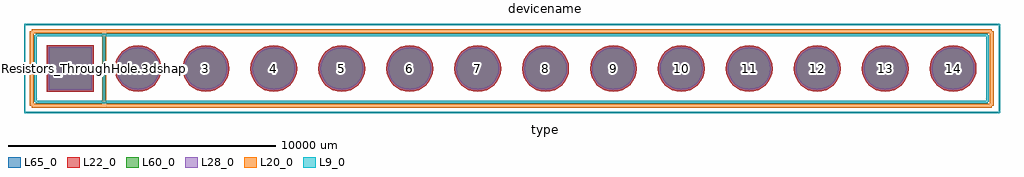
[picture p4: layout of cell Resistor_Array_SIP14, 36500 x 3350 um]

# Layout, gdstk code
import gdstk
lib = gdstk.Library(unit=1e-6, precision=1e-09)
def R(c, l, rs):  # rectangles x0, y0, x1, y1
    for r in rs: c.add(gdstk.rectangle(r[:2], r[2:], *l))
def P(c, l, *ps):  # polygons
    for p in ps: c.add(gdstk.Polygon(p, *l))
L9_0 = (9, 0)
L20_0 = (20, 0)
L22_0 = (22, 0)
L28_0 = (28, 0)
L60_0 = (60, 0)
L65_0 = (65, 0)

resistor_array_sip14 = lib.new_cell('Resistor_Array_SIP14')
R(resistor_array_sip14, L22_0, [(-875,-875,875,875)])
P(resistor_array_sip14, L22_0, [(33895,0),(33878.187,170.704),(33828.395,334.848),(33747.536,486.124),(33638.718,618.718),(33506.124,727.536),(33354.848,808.395),(33190.704,858.187),(33020,875),(32849.296,858.187),(32685.152,808.395),(32533.876,727.536),(32401.282,618.718),(32292.464,486.124),(32211.605,334.848),(32161.813,170.704),(32145,0),(32161.813,-170.704),(32211.605,-334.848),(32292.464,-486.124),(32401.282,-618.718),(32533.876,-727.536),(32685.152,-808.395),(32849.296,-858.187),(33020,-875),(33190.704,-858.187),(33354.848,-808.395),(33506.124,-727.536),(33638.718,-618.718),(33747.536,-486.124),(33828.395,-334.848),(33878.187,-170.704)],
  [(31355,0),(31338.187,170.704),(31288.395,334.848),(31207.536,486.124),(31098.718,618.718),(30966.124,727.536),(30814.848,808.395),(30650.704,858.187),(30480,875),(30309.296,858.187),(30145.152,808.395),(29993.876,727.536),(29861.282,618.718),(29752.464,486.124),(29671.605,334.848),(29621.813,170.704),(29605,0),(29621.813,-170.704),(29671.605,-334.848),(29752.464,-486.124),(29861.282,-618.718),(29993.876,-727.536),(30145.152,-808.395),(30309.296,-858.187),(30480,-875),(30650.704,-858.187),(30814.848,-808.395),(30966.124,-727.536),(31098.718,-618.718),(31207.536,-486.124),(31288.395,-334.848),(31338.187,-170.704)],
  [(28815,0),(28798.187,170.704),(28748.395,334.848),(28667.536,486.124),(28558.718,618.718),(28426.124,727.536),(28274.848,808.395),(28110.704,858.187),(27940,875),(27769.296,858.187),(27605.152,808.395),(27453.876,727.536),(27321.282,618.718),(27212.464,486.124),(27131.605,334.848),(27081.813,170.704),(27065,0),(27081.813,-170.704),(27131.605,-334.848),(27212.464,-486.124),(27321.282,-618.718),(27453.876,-727.536),(27605.152,-808.395),(27769.296,-858.187),(27940,-875),(28110.704,-858.187),(28274.848,-808.395),(28426.124,-727.536),(28558.718,-618.718),(28667.536,-486.124),(28748.395,-334.848),(28798.187,-170.704)],
  [(26275,0),(26258.187,170.704),(26208.395,334.848),(26127.536,486.124),(26018.718,618.718),(25886.124,727.536),(25734.848,808.395),(25570.704,858.187),(25400,875),(25229.296,858.187),(25065.152,808.395),(24913.876,727.536),(24781.282,618.718),(24672.464,486.124),(24591.605,334.848),(24541.813,170.704),(24525,0),(24541.813,-170.704),(24591.605,-334.848),(24672.464,-486.124),(24781.282,-618.718),(24913.876,-727.536),(25065.152,-808.395),(25229.296,-858.187),(25400,-875),(25570.704,-858.187),(25734.848,-808.395),(25886.124,-727.536),(26018.718,-618.718),(26127.536,-486.124),(26208.395,-334.848),(26258.187,-170.704)],
  [(23735,0),(23718.187,170.704),(23668.395,334.848),(23587.536,486.124),(23478.718,618.718),(23346.124,727.536),(23194.848,808.395),(23030.704,858.187),(22860,875),(22689.296,858.187),(22525.152,808.395),(22373.876,727.536),(22241.282,618.718),(22132.464,486.124),(22051.605,334.848),(22001.813,170.704),(21985,0),(22001.813,-170.704),(22051.605,-334.848),(22132.464,-486.124),(22241.282,-618.718),(22373.876,-727.536),(22525.152,-808.395),(22689.296,-858.187),(22860,-875),(23030.704,-858.187),(23194.848,-808.395),(23346.124,-727.536),(23478.718,-618.718),(23587.536,-486.124),(23668.395,-334.848),(23718.187,-170.704)],
  [(21195,0),(21178.187,170.704),(21128.395,334.848),(21047.536,486.124),(20938.718,618.718),(20806.124,727.536),(20654.848,808.395),(20490.704,858.187),(20320,875),(20149.296,858.187),(19985.152,808.395),(19833.876,727.536),(19701.282,618.718),(19592.464,486.124),(19511.605,334.848),(19461.813,170.704),(19445,0),(19461.813,-170.704),(19511.605,-334.848),(19592.464,-486.124),(19701.282,-618.718),(19833.876,-727.536),(19985.152,-808.395),(20149.296,-858.187),(20320,-875),(20490.704,-858.187),(20654.848,-808.395),(20806.124,-727.536),(20938.718,-618.718),(21047.536,-486.124),(21128.395,-334.848),(21178.187,-170.704)],
  [(18655,0),(18638.187,170.704),(18588.395,334.848),(18507.536,486.124),(18398.718,618.718),(18266.124,727.536),(18114.848,808.395),(17950.704,858.187),(17780,875),(17609.296,858.187),(17445.152,808.395),(17293.876,727.536),(17161.282,618.718),(17052.464,486.124),(16971.605,334.848),(16921.813,170.704),(16905,0),(16921.813,-170.704),(16971.605,-334.848),(17052.464,-486.124),(17161.282,-618.718),(17293.876,-727.536),(17445.152,-808.395),(17609.296,-858.187),(17780,-875),(17950.704,-858.187),(18114.848,-808.395),(18266.124,-727.536),(18398.718,-618.718),(18507.536,-486.124),(18588.395,-334.848),(18638.187,-170.704)],
  [(16115,0),(16098.187,170.704),(16048.395,334.848),(15967.536,486.124),(15858.718,618.718),(15726.124,727.536),(15574.848,808.395),(15410.704,858.187),(15240,875),(15069.296,858.187),(14905.152,808.395),(14753.876,727.536),(14621.282,618.718),(14512.464,486.124),(14431.605,334.848),(14381.813,170.704),(14365,0),(14381.813,-170.704),(14431.605,-334.848),(14512.464,-486.124),(14621.282,-618.718),(14753.876,-727.536),(14905.152,-808.395),(15069.296,-858.187),(15240,-875),(15410.704,-858.187),(15574.848,-808.395),(15726.124,-727.536),(15858.718,-618.718),(15967.536,-486.124),(16048.395,-334.848),(16098.187,-170.704)],
  [(13575,0),(13558.187,170.704),(13508.395,334.848),(13427.536,486.124),(13318.718,618.718),(13186.124,727.536),(13034.848,808.395),(12870.704,858.187),(12700,875),(12529.296,858.187),(12365.152,808.395),(12213.876,727.536),(12081.282,618.718),(11972.464,486.124),(11891.605,334.848),(11841.813,170.704),(11825,0),(11841.813,-170.704),(11891.605,-334.848),(11972.464,-486.124),(12081.282,-618.718),(12213.876,-727.536),(12365.152,-808.395),(12529.296,-858.187),(12700,-875),(12870.704,-858.187),(13034.848,-808.395),(13186.124,-727.536),(13318.718,-618.718),(13427.536,-486.124),(13508.395,-334.848),(13558.187,-170.704)],
  [(11035,0),(11018.187,170.704),(10968.395,334.848),(10887.536,486.124),(10778.718,618.718),(10646.124,727.536),(10494.848,808.395),(10330.704,858.187),(10160,875),(9989.296,858.187),(9825.152,808.395),(9673.876,727.536),(9541.282,618.718),(9432.464,486.124),(9351.605,334.848),(9301.813,170.704),(9285,0),(9301.813,-170.704),(9351.605,-334.848),(9432.464,-486.124),(9541.282,-618.718),(9673.876,-727.536),(9825.152,-808.395),(9989.296,-858.187),(10160,-875),(10330.704,-858.187),(10494.848,-808.395),(10646.124,-727.536),(10778.718,-618.718),(10887.536,-486.124),(10968.395,-334.848),(11018.187,-170.704)],
  [(8495,0),(8478.187,170.704),(8428.395,334.848),(8347.536,486.124),(8238.718,618.718),(8106.124,727.536),(7954.848,808.395),(7790.704,858.187),(7620,875),(7449.296,858.187),(7285.152,808.395),(7133.876,727.536),(7001.282,618.718),(6892.464,486.124),(6811.605,334.848),(6761.813,170.704),(6745,0),(6761.813,-170.704),(6811.605,-334.848),(6892.464,-486.124),(7001.282,-618.718),(7133.876,-727.536),(7285.152,-808.395),(7449.296,-858.187),(7620,-875),(7790.704,-858.187),(7954.848,-808.395),(8106.124,-727.536),(8238.718,-618.718),(8347.536,-486.124),(8428.395,-334.848),(8478.187,-170.704)],
  [(5955,0),(5938.187,170.704),(5888.395,334.848),(5807.536,486.124),(5698.718,618.718),(5566.124,727.536),(5414.848,808.395),(5250.704,858.187),(5080,875),(4909.296,858.187),(4745.152,808.395),(4593.876,727.536),(4461.282,618.718),(4352.464,486.124),(4271.605,334.848),(4221.813,170.704),(4205,0),(4221.813,-170.704),(4271.605,-334.848),(4352.464,-486.124),(4461.282,-618.718),(4593.876,-727.536),(4745.152,-808.395),(4909.296,-858.187),(5080,-875),(5250.704,-858.187),(5414.848,-808.395),(5566.124,-727.536),(5698.718,-618.718),(5807.536,-486.124),(5888.395,-334.848),(5938.187,-170.704)],
  [(3415,0),(3398.187,170.704),(3348.395,334.848),(3267.536,486.124),(3158.718,618.718),(3026.124,727.536),(2874.848,808.395),(2710.704,858.187),(2540,875),(2369.296,858.187),(2205.152,808.395),(2053.876,727.536),(1921.282,618.718),(1812.464,486.124),(1731.605,334.848),(1681.813,170.704),(1665,0),(1681.813,-170.704),(1731.605,-334.848),(1812.464,-486.124),(1921.282,-618.718),(2053.876,-727.536),(2205.152,-808.395),(2369.296,-858.187),(2540,-875),(2710.704,-858.187),(2874.848,-808.395),(3026.124,-727.536),(3158.718,-618.718),(3267.536,-486.124),(3348.395,-334.848),(3398.187,-170.704)])
R(resistor_array_sip14, L28_0, [(-800,-800,800,800)])
P(resistor_array_sip14, L28_0, [(33820,0),(33804.628,156.072),(33759.104,306.147),(33685.176,444.456),(33585.685,565.685),(33464.456,665.176),(33326.147,739.104),(33176.072,784.628),(33020,800),(32863.928,784.628),(32713.853,739.104),(32575.544,665.176),(32454.315,565.685),(32354.824,444.456),(32280.896,306.147),(32235.372,156.072),(32220,0),(32235.372,-156.072),(32280.896,-306.147),(32354.824,-444.456),(32454.315,-565.685),(32575.544,-665.176),(32713.853,-739.104),(32863.928,-784.628),(33020,-800),(33176.072,-784.628),(33326.147,-739.104),(33464.456,-665.176),(33585.685,-565.685),(33685.176,-444.456),(33759.104,-306.147),(33804.628,-156.072)],
  [(31280,0),(31264.628,156.072),(31219.104,306.147),(31145.176,444.456),(31045.685,565.685),(30924.456,665.176),(30786.147,739.104),(30636.072,784.628),(30480,800),(30323.928,784.628),(30173.853,739.104),(30035.544,665.176),(29914.315,565.685),(29814.824,444.456),(29740.896,306.147),(29695.372,156.072),(29680,0),(29695.372,-156.072),(29740.896,-306.147),(29814.824,-444.456),(29914.315,-565.685),(30035.544,-665.176),(30173.853,-739.104),(30323.928,-784.628),(30480,-800),(30636.072,-784.628),(30786.147,-739.104),(30924.456,-665.176),(31045.685,-565.685),(31145.176,-444.456),(31219.104,-306.147),(31264.628,-156.072)],
  [(28740,0),(28724.628,156.072),(28679.104,306.147),(28605.176,444.456),(28505.685,565.685),(28384.456,665.176),(28246.147,739.104),(28096.072,784.628),(27940,800),(27783.928,784.628),(27633.853,739.104),(27495.544,665.176),(27374.315,565.685),(27274.824,444.456),(27200.896,306.147),(27155.372,156.072),(27140,0),(27155.372,-156.072),(27200.896,-306.147),(27274.824,-444.456),(27374.315,-565.685),(27495.544,-665.176),(27633.853,-739.104),(27783.928,-784.628),(27940,-800),(28096.072,-784.628),(28246.147,-739.104),(28384.456,-665.176),(28505.685,-565.685),(28605.176,-444.456),(28679.104,-306.147),(28724.628,-156.072)],
  [(26200,0),(26184.628,156.072),(26139.104,306.147),(26065.176,444.456),(25965.685,565.685),(25844.456,665.176),(25706.147,739.104),(25556.072,784.628),(25400,800),(25243.928,784.628),(25093.853,739.104),(24955.544,665.176),(24834.315,565.685),(24734.824,444.456),(24660.896,306.147),(24615.372,156.072),(24600,0),(24615.372,-156.072),(24660.896,-306.147),(24734.824,-444.456),(24834.315,-565.685),(24955.544,-665.176),(25093.853,-739.104),(25243.928,-784.628),(25400,-800),(25556.072,-784.628),(25706.147,-739.104),(25844.456,-665.176),(25965.685,-565.685),(26065.176,-444.456),(26139.104,-306.147),(26184.628,-156.072)],
  [(23660,0),(23644.628,156.072),(23599.104,306.147),(23525.176,444.456),(23425.685,565.685),(23304.456,665.176),(23166.147,739.104),(23016.072,784.628),(22860,800),(22703.928,784.628),(22553.853,739.104),(22415.544,665.176),(22294.315,565.685),(22194.824,444.456),(22120.896,306.147),(22075.372,156.072),(22060,0),(22075.372,-156.072),(22120.896,-306.147),(22194.824,-444.456),(22294.315,-565.685),(22415.544,-665.176),(22553.853,-739.104),(22703.928,-784.628),(22860,-800),(23016.072,-784.628),(23166.147,-739.104),(23304.456,-665.176),(23425.685,-565.685),(23525.176,-444.456),(23599.104,-306.147),(23644.628,-156.072)],
  [(21120,0),(21104.628,156.072),(21059.104,306.147),(20985.176,444.456),(20885.685,565.685),(20764.456,665.176),(20626.147,739.104),(20476.072,784.628),(20320,800),(20163.928,784.628),(20013.853,739.104),(19875.544,665.176),(19754.315,565.685),(19654.824,444.456),(19580.896,306.147),(19535.372,156.072),(19520,0),(19535.372,-156.072),(19580.896,-306.147),(19654.824,-444.456),(19754.315,-565.685),(19875.544,-665.176),(20013.853,-739.104),(20163.928,-784.628),(20320,-800),(20476.072,-784.628),(20626.147,-739.104),(20764.456,-665.176),(20885.685,-565.685),(20985.176,-444.456),(21059.104,-306.147),(21104.628,-156.072)],
  [(18580,0),(18564.628,156.072),(18519.104,306.147),(18445.176,444.456),(18345.685,565.685),(18224.456,665.176),(18086.147,739.104),(17936.072,784.628),(17780,800),(17623.928,784.628),(17473.853,739.104),(17335.544,665.176),(17214.315,565.685),(17114.824,444.456),(17040.896,306.147),(16995.372,156.072),(16980,0),(16995.372,-156.072),(17040.896,-306.147),(17114.824,-444.456),(17214.315,-565.685),(17335.544,-665.176),(17473.853,-739.104),(17623.928,-784.628),(17780,-800),(17936.072,-784.628),(18086.147,-739.104),(18224.456,-665.176),(18345.685,-565.685),(18445.176,-444.456),(18519.104,-306.147),(18564.628,-156.072)],
  [(16040,0),(16024.628,156.072),(15979.104,306.147),(15905.176,444.456),(15805.685,565.685),(15684.456,665.176),(15546.147,739.104),(15396.072,784.628),(15240,800),(15083.928,784.628),(14933.853,739.104),(14795.544,665.176),(14674.315,565.685),(14574.824,444.456),(14500.896,306.147),(14455.372,156.072),(14440,0),(14455.372,-156.072),(14500.896,-306.147),(14574.824,-444.456),(14674.315,-565.685),(14795.544,-665.176),(14933.853,-739.104),(15083.928,-784.628),(15240,-800),(15396.072,-784.628),(15546.147,-739.104),(15684.456,-665.176),(15805.685,-565.685),(15905.176,-444.456),(15979.104,-306.147),(16024.628,-156.072)],
  [(13500,0),(13484.628,156.072),(13439.104,306.147),(13365.176,444.456),(13265.685,565.685),(13144.456,665.176),(13006.147,739.104),(12856.072,784.628),(12700,800),(12543.928,784.628),(12393.853,739.104),(12255.544,665.176),(12134.315,565.685),(12034.824,444.456),(11960.896,306.147),(11915.372,156.072),(11900,0),(11915.372,-156.072),(11960.896,-306.147),(12034.824,-444.456),(12134.315,-565.685),(12255.544,-665.176),(12393.853,-739.104),(12543.928,-784.628),(12700,-800),(12856.072,-784.628),(13006.147,-739.104),(13144.456,-665.176),(13265.685,-565.685),(13365.176,-444.456),(13439.104,-306.147),(13484.628,-156.072)],
  [(10960,0),(10944.628,156.072),(10899.104,306.147),(10825.176,444.456),(10725.685,565.685),(10604.456,665.176),(10466.147,739.104),(10316.072,784.628),(10160,800),(10003.928,784.628),(9853.853,739.104),(9715.544,665.176),(9594.315,565.685),(9494.824,444.456),(9420.896,306.147),(9375.372,156.072),(9360,0),(9375.372,-156.072),(9420.896,-306.147),(9494.824,-444.456),(9594.315,-565.685),(9715.544,-665.176),(9853.853,-739.104),(10003.928,-784.628),(10160,-800),(10316.072,-784.628),(10466.147,-739.104),(10604.456,-665.176),(10725.685,-565.685),(10825.176,-444.456),(10899.104,-306.147),(10944.628,-156.072)],
  [(8420,0),(8404.628,156.072),(8359.104,306.147),(8285.176,444.456),(8185.685,565.685),(8064.456,665.176),(7926.147,739.104),(7776.072,784.628),(7620,800),(7463.928,784.628),(7313.853,739.104),(7175.544,665.176),(7054.315,565.685),(6954.824,444.456),(6880.896,306.147),(6835.372,156.072),(6820,0),(6835.372,-156.072),(6880.896,-306.147),(6954.824,-444.456),(7054.315,-565.685),(7175.544,-665.176),(7313.853,-739.104),(7463.928,-784.628),(7620,-800),(7776.072,-784.628),(7926.147,-739.104),(8064.456,-665.176),(8185.685,-565.685),(8285.176,-444.456),(8359.104,-306.147),(8404.628,-156.072)],
  [(5880,0),(5864.628,156.072),(5819.104,306.147),(5745.176,444.456),(5645.685,565.685),(5524.456,665.176),(5386.147,739.104),(5236.072,784.628),(5080,800),(4923.928,784.628),(4773.853,739.104),(4635.544,665.176),(4514.315,565.685),(4414.824,444.456),(4340.896,306.147),(4295.372,156.072),(4280,0),(4295.372,-156.072),(4340.896,-306.147),(4414.824,-444.456),(4514.315,-565.685),(4635.544,-665.176),(4773.853,-739.104),(4923.928,-784.628),(5080,-800),(5236.072,-784.628),(5386.147,-739.104),(5524.456,-665.176),(5645.685,-565.685),(5745.176,-444.456),(5819.104,-306.147),(5864.628,-156.072)],
  [(3340,0),(3324.628,156.072),(3279.104,306.147),(3205.176,444.456),(3105.685,565.685),(2984.456,665.176),(2846.147,739.104),(2696.072,784.628),(2540,800),(2383.928,784.628),(2233.853,739.104),(2095.544,665.176),(1974.315,565.685),(1874.824,444.456),(1800.896,306.147),(1755.372,156.072),(1740,0),(1755.372,-156.072),(1800.896,-306.147),(1874.824,-444.456),(1974.315,-565.685),(2095.544,-665.176),(2233.853,-739.104),(2383.928,-784.628),(2540,-800),(2696.072,-784.628),(2846.147,-739.104),(2984.456,-665.176),(3105.685,-565.685),(3205.176,-444.456),(3279.104,-306.147),(3324.628,-156.072)])
R(resistor_array_sip14, L60_0, [(-800,-800,800,800)])
P(resistor_array_sip14, L60_0, [(33820,0),(33804.628,156.072),(33759.104,306.147),(33685.176,444.456),(33585.685,565.685),(33464.456,665.176),(33326.147,739.104),(33176.072,784.628),(33020,800),(32863.928,784.628),(32713.853,739.104),(32575.544,665.176),(32454.315,565.685),(32354.824,444.456),(32280.896,306.147),(32235.372,156.072),(32220,0),(32235.372,-156.072),(32280.896,-306.147),(32354.824,-444.456),(32454.315,-565.685),(32575.544,-665.176),(32713.853,-739.104),(32863.928,-784.628),(33020,-800),(33176.072,-784.628),(33326.147,-739.104),(33464.456,-665.176),(33585.685,-565.685),(33685.176,-444.456),(33759.104,-306.147),(33804.628,-156.072)],
  [(31280,0),(31264.628,156.072),(31219.104,306.147),(31145.176,444.456),(31045.685,565.685),(30924.456,665.176),(30786.147,739.104),(30636.072,784.628),(30480,800),(30323.928,784.628),(30173.853,739.104),(30035.544,665.176),(29914.315,565.685),(29814.824,444.456),(29740.896,306.147),(29695.372,156.072),(29680,0),(29695.372,-156.072),(29740.896,-306.147),(29814.824,-444.456),(29914.315,-565.685),(30035.544,-665.176),(30173.853,-739.104),(30323.928,-784.628),(30480,-800),(30636.072,-784.628),(30786.147,-739.104),(30924.456,-665.176),(31045.685,-565.685),(31145.176,-444.456),(31219.104,-306.147),(31264.628,-156.072)],
  [(28740,0),(28724.628,156.072),(28679.104,306.147),(28605.176,444.456),(28505.685,565.685),(28384.456,665.176),(28246.147,739.104),(28096.072,784.628),(27940,800),(27783.928,784.628),(27633.853,739.104),(27495.544,665.176),(27374.315,565.685),(27274.824,444.456),(27200.896,306.147),(27155.372,156.072),(27140,0),(27155.372,-156.072),(27200.896,-306.147),(27274.824,-444.456),(27374.315,-565.685),(27495.544,-665.176),(27633.853,-739.104),(27783.928,-784.628),(27940,-800),(28096.072,-784.628),(28246.147,-739.104),(28384.456,-665.176),(28505.685,-565.685),(28605.176,-444.456),(28679.104,-306.147),(28724.628,-156.072)],
  [(26200,0),(26184.628,156.072),(26139.104,306.147),(26065.176,444.456),(25965.685,565.685),(25844.456,665.176),(25706.147,739.104),(25556.072,784.628),(25400,800),(25243.928,784.628),(25093.853,739.104),(24955.544,665.176),(24834.315,565.685),(24734.824,444.456),(24660.896,306.147),(24615.372,156.072),(24600,0),(24615.372,-156.072),(24660.896,-306.147),(24734.824,-444.456),(24834.315,-565.685),(24955.544,-665.176),(25093.853,-739.104),(25243.928,-784.628),(25400,-800),(25556.072,-784.628),(25706.147,-739.104),(25844.456,-665.176),(25965.685,-565.685),(26065.176,-444.456),(26139.104,-306.147),(26184.628,-156.072)],
  [(23660,0),(23644.628,156.072),(23599.104,306.147),(23525.176,444.456),(23425.685,565.685),(23304.456,665.176),(23166.147,739.104),(23016.072,784.628),(22860,800),(22703.928,784.628),(22553.853,739.104),(22415.544,665.176),(22294.315,565.685),(22194.824,444.456),(22120.896,306.147),(22075.372,156.072),(22060,0),(22075.372,-156.072),(22120.896,-306.147),(22194.824,-444.456),(22294.315,-565.685),(22415.544,-665.176),(22553.853,-739.104),(22703.928,-784.628),(22860,-800),(23016.072,-784.628),(23166.147,-739.104),(23304.456,-665.176),(23425.685,-565.685),(23525.176,-444.456),(23599.104,-306.147),(23644.628,-156.072)],
  [(21120,0),(21104.628,156.072),(21059.104,306.147),(20985.176,444.456),(20885.685,565.685),(20764.456,665.176),(20626.147,739.104),(20476.072,784.628),(20320,800),(20163.928,784.628),(20013.853,739.104),(19875.544,665.176),(19754.315,565.685),(19654.824,444.456),(19580.896,306.147),(19535.372,156.072),(19520,0),(19535.372,-156.072),(19580.896,-306.147),(19654.824,-444.456),(19754.315,-565.685),(19875.544,-665.176),(20013.853,-739.104),(20163.928,-784.628),(20320,-800),(20476.072,-784.628),(20626.147,-739.104),(20764.456,-665.176),(20885.685,-565.685),(20985.176,-444.456),(21059.104,-306.147),(21104.628,-156.072)],
  [(18580,0),(18564.628,156.072),(18519.104,306.147),(18445.176,444.456),(18345.685,565.685),(18224.456,665.176),(18086.147,739.104),(17936.072,784.628),(17780,800),(17623.928,784.628),(17473.853,739.104),(17335.544,665.176),(17214.315,565.685),(17114.824,444.456),(17040.896,306.147),(16995.372,156.072),(16980,0),(16995.372,-156.072),(17040.896,-306.147),(17114.824,-444.456),(17214.315,-565.685),(17335.544,-665.176),(17473.853,-739.104),(17623.928,-784.628),(17780,-800),(17936.072,-784.628),(18086.147,-739.104),(18224.456,-665.176),(18345.685,-565.685),(18445.176,-444.456),(18519.104,-306.147),(18564.628,-156.072)],
  [(16040,0),(16024.628,156.072),(15979.104,306.147),(15905.176,444.456),(15805.685,565.685),(15684.456,665.176),(15546.147,739.104),(15396.072,784.628),(15240,800),(15083.928,784.628),(14933.853,739.104),(14795.544,665.176),(14674.315,565.685),(14574.824,444.456),(14500.896,306.147),(14455.372,156.072),(14440,0),(14455.372,-156.072),(14500.896,-306.147),(14574.824,-444.456),(14674.315,-565.685),(14795.544,-665.176),(14933.853,-739.104),(15083.928,-784.628),(15240,-800),(15396.072,-784.628),(15546.147,-739.104),(15684.456,-665.176),(15805.685,-565.685),(15905.176,-444.456),(15979.104,-306.147),(16024.628,-156.072)],
  [(13500,0),(13484.628,156.072),(13439.104,306.147),(13365.176,444.456),(13265.685,565.685),(13144.456,665.176),(13006.147,739.104),(12856.072,784.628),(12700,800),(12543.928,784.628),(12393.853,739.104),(12255.544,665.176),(12134.315,565.685),(12034.824,444.456),(11960.896,306.147),(11915.372,156.072),(11900,0),(11915.372,-156.072),(11960.896,-306.147),(12034.824,-444.456),(12134.315,-565.685),(12255.544,-665.176),(12393.853,-739.104),(12543.928,-784.628),(12700,-800),(12856.072,-784.628),(13006.147,-739.104),(13144.456,-665.176),(13265.685,-565.685),(13365.176,-444.456),(13439.104,-306.147),(13484.628,-156.072)],
  [(10960,0),(10944.628,156.072),(10899.104,306.147),(10825.176,444.456),(10725.685,565.685),(10604.456,665.176),(10466.147,739.104),(10316.072,784.628),(10160,800),(10003.928,784.628),(9853.853,739.104),(9715.544,665.176),(9594.315,565.685),(9494.824,444.456),(9420.896,306.147),(9375.372,156.072),(9360,0),(9375.372,-156.072),(9420.896,-306.147),(9494.824,-444.456),(9594.315,-565.685),(9715.544,-665.176),(9853.853,-739.104),(10003.928,-784.628),(10160,-800),(10316.072,-784.628),(10466.147,-739.104),(10604.456,-665.176),(10725.685,-565.685),(10825.176,-444.456),(10899.104,-306.147),(10944.628,-156.072)],
  [(8420,0),(8404.628,156.072),(8359.104,306.147),(8285.176,444.456),(8185.685,565.685),(8064.456,665.176),(7926.147,739.104),(7776.072,784.628),(7620,800),(7463.928,784.628),(7313.853,739.104),(7175.544,665.176),(7054.315,565.685),(6954.824,444.456),(6880.896,306.147),(6835.372,156.072),(6820,0),(6835.372,-156.072),(6880.896,-306.147),(6954.824,-444.456),(7054.315,-565.685),(7175.544,-665.176),(7313.853,-739.104),(7463.928,-784.628),(7620,-800),(7776.072,-784.628),(7926.147,-739.104),(8064.456,-665.176),(8185.685,-565.685),(8285.176,-444.456),(8359.104,-306.147),(8404.628,-156.072)],
  [(5880,0),(5864.628,156.072),(5819.104,306.147),(5745.176,444.456),(5645.685,565.685),(5524.456,665.176),(5386.147,739.104),(5236.072,784.628),(5080,800),(4923.928,784.628),(4773.853,739.104),(4635.544,665.176),(4514.315,565.685),(4414.824,444.456),(4340.896,306.147),(4295.372,156.072),(4280,0),(4295.372,-156.072),(4340.896,-306.147),(4414.824,-444.456),(4514.315,-565.685),(4635.544,-665.176),(4773.853,-739.104),(4923.928,-784.628),(5080,-800),(5236.072,-784.628),(5386.147,-739.104),(5524.456,-665.176),(5645.685,-565.685),(5745.176,-444.456),(5819.104,-306.147),(5864.628,-156.072)],
  [(3340,0),(3324.628,156.072),(3279.104,306.147),(3205.176,444.456),(3105.685,565.685),(2984.456,665.176),(2846.147,739.104),(2696.072,784.628),(2540,800),(2383.928,784.628),(2233.853,739.104),(2095.544,665.176),(1974.315,565.685),(1874.824,444.456),(1800.896,306.147),(1755.372,156.072),(1740,0),(1755.372,-156.072),(1800.896,-306.147),(1874.824,-444.456),(1974.315,-565.685),(2095.544,-665.176),(2233.853,-739.104),(2383.928,-784.628),(2540,-800),(2696.072,-784.628),(2846.147,-739.104),(2984.456,-665.176),(3105.685,-565.685),(3205.176,-444.456),(3279.104,-306.147),(3324.628,-156.072)])
R(resistor_array_sip14, L65_0, [(-875,-875,875,875)])
P(resistor_array_sip14, L65_0, [(33895,0),(33878.187,170.704),(33828.395,334.848),(33747.536,486.124),(33638.718,618.718),(33506.124,727.536),(33354.848,808.395),(33190.704,858.187),(33020,875),(32849.296,858.187),(32685.152,808.395),(32533.876,727.536),(32401.282,618.718),(32292.464,486.124),(32211.605,334.848),(32161.813,170.704),(32145,0),(32161.813,-170.704),(32211.605,-334.848),(32292.464,-486.124),(32401.282,-618.718),(32533.876,-727.536),(32685.152,-808.395),(32849.296,-858.187),(33020,-875),(33190.704,-858.187),(33354.848,-808.395),(33506.124,-727.536),(33638.718,-618.718),(33747.536,-486.124),(33828.395,-334.848),(33878.187,-170.704)],
  [(31355,0),(31338.187,170.704),(31288.395,334.848),(31207.536,486.124),(31098.718,618.718),(30966.124,727.536),(30814.848,808.395),(30650.704,858.187),(30480,875),(30309.296,858.187),(30145.152,808.395),(29993.876,727.536),(29861.282,618.718),(29752.464,486.124),(29671.605,334.848),(29621.813,170.704),(29605,0),(29621.813,-170.704),(29671.605,-334.848),(29752.464,-486.124),(29861.282,-618.718),(29993.876,-727.536),(30145.152,-808.395),(30309.296,-858.187),(30480,-875),(30650.704,-858.187),(30814.848,-808.395),(30966.124,-727.536),(31098.718,-618.718),(31207.536,-486.124),(31288.395,-334.848),(31338.187,-170.704)],
  [(28815,0),(28798.187,170.704),(28748.395,334.848),(28667.536,486.124),(28558.718,618.718),(28426.124,727.536),(28274.848,808.395),(28110.704,858.187),(27940,875),(27769.296,858.187),(27605.152,808.395),(27453.876,727.536),(27321.282,618.718),(27212.464,486.124),(27131.605,334.848),(27081.813,170.704),(27065,0),(27081.813,-170.704),(27131.605,-334.848),(27212.464,-486.124),(27321.282,-618.718),(27453.876,-727.536),(27605.152,-808.395),(27769.296,-858.187),(27940,-875),(28110.704,-858.187),(28274.848,-808.395),(28426.124,-727.536),(28558.718,-618.718),(28667.536,-486.124),(28748.395,-334.848),(28798.187,-170.704)],
  [(26275,0),(26258.187,170.704),(26208.395,334.848),(26127.536,486.124),(26018.718,618.718),(25886.124,727.536),(25734.848,808.395),(25570.704,858.187),(25400,875),(25229.296,858.187),(25065.152,808.395),(24913.876,727.536),(24781.282,618.718),(24672.464,486.124),(24591.605,334.848),(24541.813,170.704),(24525,0),(24541.813,-170.704),(24591.605,-334.848),(24672.464,-486.124),(24781.282,-618.718),(24913.876,-727.536),(25065.152,-808.395),(25229.296,-858.187),(25400,-875),(25570.704,-858.187),(25734.848,-808.395),(25886.124,-727.536),(26018.718,-618.718),(26127.536,-486.124),(26208.395,-334.848),(26258.187,-170.704)],
  [(23735,0),(23718.187,170.704),(23668.395,334.848),(23587.536,486.124),(23478.718,618.718),(23346.124,727.536),(23194.848,808.395),(23030.704,858.187),(22860,875),(22689.296,858.187),(22525.152,808.395),(22373.876,727.536),(22241.282,618.718),(22132.464,486.124),(22051.605,334.848),(22001.813,170.704),(21985,0),(22001.813,-170.704),(22051.605,-334.848),(22132.464,-486.124),(22241.282,-618.718),(22373.876,-727.536),(22525.152,-808.395),(22689.296,-858.187),(22860,-875),(23030.704,-858.187),(23194.848,-808.395),(23346.124,-727.536),(23478.718,-618.718),(23587.536,-486.124),(23668.395,-334.848),(23718.187,-170.704)],
  [(21195,0),(21178.187,170.704),(21128.395,334.848),(21047.536,486.124),(20938.718,618.718),(20806.124,727.536),(20654.848,808.395),(20490.704,858.187),(20320,875),(20149.296,858.187),(19985.152,808.395),(19833.876,727.536),(19701.282,618.718),(19592.464,486.124),(19511.605,334.848),(19461.813,170.704),(19445,0),(19461.813,-170.704),(19511.605,-334.848),(19592.464,-486.124),(19701.282,-618.718),(19833.876,-727.536),(19985.152,-808.395),(20149.296,-858.187),(20320,-875),(20490.704,-858.187),(20654.848,-808.395),(20806.124,-727.536),(20938.718,-618.718),(21047.536,-486.124),(21128.395,-334.848),(21178.187,-170.704)],
  [(18655,0),(18638.187,170.704),(18588.395,334.848),(18507.536,486.124),(18398.718,618.718),(18266.124,727.536),(18114.848,808.395),(17950.704,858.187),(17780,875),(17609.296,858.187),(17445.152,808.395),(17293.876,727.536),(17161.282,618.718),(17052.464,486.124),(16971.605,334.848),(16921.813,170.704),(16905,0),(16921.813,-170.704),(16971.605,-334.848),(17052.464,-486.124),(17161.282,-618.718),(17293.876,-727.536),(17445.152,-808.395),(17609.296,-858.187),(17780,-875),(17950.704,-858.187),(18114.848,-808.395),(18266.124,-727.536),(18398.718,-618.718),(18507.536,-486.124),(18588.395,-334.848),(18638.187,-170.704)],
  [(16115,0),(16098.187,170.704),(16048.395,334.848),(15967.536,486.124),(15858.718,618.718),(15726.124,727.536),(15574.848,808.395),(15410.704,858.187),(15240,875),(15069.296,858.187),(14905.152,808.395),(14753.876,727.536),(14621.282,618.718),(14512.464,486.124),(14431.605,334.848),(14381.813,170.704),(14365,0),(14381.813,-170.704),(14431.605,-334.848),(14512.464,-486.124),(14621.282,-618.718),(14753.876,-727.536),(14905.152,-808.395),(15069.296,-858.187),(15240,-875),(15410.704,-858.187),(15574.848,-808.395),(15726.124,-727.536),(15858.718,-618.718),(15967.536,-486.124),(16048.395,-334.848),(16098.187,-170.704)],
  [(13575,0),(13558.187,170.704),(13508.395,334.848),(13427.536,486.124),(13318.718,618.718),(13186.124,727.536),(13034.848,808.395),(12870.704,858.187),(12700,875),(12529.296,858.187),(12365.152,808.395),(12213.876,727.536),(12081.282,618.718),(11972.464,486.124),(11891.605,334.848),(11841.813,170.704),(11825,0),(11841.813,-170.704),(11891.605,-334.848),(11972.464,-486.124),(12081.282,-618.718),(12213.876,-727.536),(12365.152,-808.395),(12529.296,-858.187),(12700,-875),(12870.704,-858.187),(13034.848,-808.395),(13186.124,-727.536),(13318.718,-618.718),(13427.536,-486.124),(13508.395,-334.848),(13558.187,-170.704)],
  [(11035,0),(11018.187,170.704),(10968.395,334.848),(10887.536,486.124),(10778.718,618.718),(10646.124,727.536),(10494.848,808.395),(10330.704,858.187),(10160,875),(9989.296,858.187),(9825.152,808.395),(9673.876,727.536),(9541.282,618.718),(9432.464,486.124),(9351.605,334.848),(9301.813,170.704),(9285,0),(9301.813,-170.704),(9351.605,-334.848),(9432.464,-486.124),(9541.282,-618.718),(9673.876,-727.536),(9825.152,-808.395),(9989.296,-858.187),(10160,-875),(10330.704,-858.187),(10494.848,-808.395),(10646.124,-727.536),(10778.718,-618.718),(10887.536,-486.124),(10968.395,-334.848),(11018.187,-170.704)],
  [(8495,0),(8478.187,170.704),(8428.395,334.848),(8347.536,486.124),(8238.718,618.718),(8106.124,727.536),(7954.848,808.395),(7790.704,858.187),(7620,875),(7449.296,858.187),(7285.152,808.395),(7133.876,727.536),(7001.282,618.718),(6892.464,486.124),(6811.605,334.848),(6761.813,170.704),(6745,0),(6761.813,-170.704),(6811.605,-334.848),(6892.464,-486.124),(7001.282,-618.718),(7133.876,-727.536),(7285.152,-808.395),(7449.296,-858.187),(7620,-875),(7790.704,-858.187),(7954.848,-808.395),(8106.124,-727.536),(8238.718,-618.718),(8347.536,-486.124),(8428.395,-334.848),(8478.187,-170.704)],
  [(5955,0),(5938.187,170.704),(5888.395,334.848),(5807.536,486.124),(5698.718,618.718),(5566.124,727.536),(5414.848,808.395),(5250.704,858.187),(5080,875),(4909.296,858.187),(4745.152,808.395),(4593.876,727.536),(4461.282,618.718),(4352.464,486.124),(4271.605,334.848),(4221.813,170.704),(4205,0),(4221.813,-170.704),(4271.605,-334.848),(4352.464,-486.124),(4461.282,-618.718),(4593.876,-727.536),(4745.152,-808.395),(4909.296,-858.187),(5080,-875),(5250.704,-858.187),(5414.848,-808.395),(5566.124,-727.536),(5698.718,-618.718),(5807.536,-486.124),(5888.395,-334.848),(5938.187,-170.704)],
  [(3415,0),(3398.187,170.704),(3348.395,334.848),(3267.536,486.124),(3158.718,618.718),(3026.124,727.536),(2874.848,808.395),(2710.704,858.187),(2540,875),(2369.296,858.187),(2205.152,808.395),(2053.876,727.536),(1921.282,618.718),(1812.464,486.124),(1731.605,334.848),(1681.813,170.704),(1665,0),(1681.813,-170.704),(1731.605,-334.848),(1812.464,-486.124),(1921.282,-618.718),(2053.876,-727.536),(2205.152,-808.395),(2369.296,-858.187),(2540,-875),(2710.704,-858.187),(2874.848,-808.395),(3026.124,-727.536),(3158.718,-618.718),(3267.536,-486.124),(3348.395,-334.848),(3398.187,-170.704)])
resistor_array_sip14.add(gdstk.FlexPath([(34750,1650),(-1700,1650)], 50, ends="flush", simple_path=True, layer=9, datatype=0))  # L9_0
resistor_array_sip14.add(gdstk.FlexPath([(34750,-1650),(34750,1650)], 50, ends="flush", simple_path=True, layer=9, datatype=0))  # L9_0
resistor_array_sip14.add(gdstk.FlexPath([(-1700,-1650),(34750,-1650)], 50, ends="flush", simple_path=True, layer=9, datatype=0))  # L9_0
resistor_array_sip14.add(gdstk.FlexPath([(-1700,1650),(-1700,-1650)], 50, ends="flush", simple_path=True, layer=9, datatype=0))  # L9_0
resistor_array_sip14.add(gdstk.FlexPath([(1270,1400),(1270,-1400)], 149.998, ends="flush", simple_path=True, layer=20, datatype=0))  # L20_0
resistor_array_sip14.add(gdstk.FlexPath([(34460,1400),(-1440,1400)], 149.998, ends="flush", simple_path=True, layer=20, datatype=0))  # L20_0
resistor_array_sip14.add(gdstk.FlexPath([(34460,-1400),(34460,1400)], 149.998, ends="flush", simple_path=True, layer=20, datatype=0))  # L20_0
resistor_array_sip14.add(gdstk.FlexPath([(-1440,-1400),(34460,-1400)], 149.998, ends="flush", simple_path=True, layer=20, datatype=0))  # L20_0
resistor_array_sip14.add(gdstk.FlexPath([(-1440,1400),(-1440,-1400)], 149.998, ends="flush", simple_path=True, layer=20, datatype=0))  # L20_0
resistor_array_sip14.add(gdstk.FlexPath([(1270,1250),(1270,-1250)], 100, ends="flush", simple_path=True, layer=9, datatype=0))  # L9_0
resistor_array_sip14.add(gdstk.FlexPath([(34310,1250),(-1290,1250)], 100, ends="flush", simple_path=True, layer=9, datatype=0))  # L9_0
resistor_array_sip14.add(gdstk.FlexPath([(34310,-1250),(34310,1250)], 100, ends="flush", simple_path=True, layer=9, datatype=0))  # L9_0
resistor_array_sip14.add(gdstk.FlexPath([(-1290,-1250),(34310,-1250)], 100, ends="flush", simple_path=True, layer=9, datatype=0))  # L9_0
resistor_array_sip14.add(gdstk.FlexPath([(-1290,1250),(-1290,-1250)], 100, ends="flush", simple_path=True, layer=9, datatype=0))  # L9_0
resistor_array_sip14.add(gdstk.Label('Resistors_ThroughHole.3dshapes/Resistor_Array_SIP14.wrl', (0,0), layer=12, texttype=0))
resistor_array_sip14.add(gdstk.Label('14', (33020,0), layer=28, texttype=0))
resistor_array_sip14.add(gdstk.Label('13', (30480,0), layer=28, texttype=0))
resistor_array_sip14.add(gdstk.Label('12', (27940,0), layer=28, texttype=0))
resistor_array_sip14.add(gdstk.Label('11', (25400,0), layer=28, texttype=0))
resistor_array_sip14.add(gdstk.Label('10', (22860,0), layer=28, texttype=0))
resistor_array_sip14.add(gdstk.Label('9', (20320,0), layer=28, texttype=0))
resistor_array_sip14.add(gdstk.Label('8', (17780,0), layer=28, texttype=0))
resistor_array_sip14.add(gdstk.Label('7', (15240,0), layer=28, texttype=0))
resistor_array_sip14.add(gdstk.Label('6', (12700,0), layer=28, texttype=0))
resistor_array_sip14.add(gdstk.Label('5', (10160,0), layer=28, texttype=0))
resistor_array_sip14.add(gdstk.Label('4', (7620,0), layer=28, texttype=0))
resistor_array_sip14.add(gdstk.Label('3', (5080,0), layer=28, texttype=0))
resistor_array_sip14.add(gdstk.Label('2', (2540,0), layer=28, texttype=0))
resistor_array_sip14.add(gdstk.Label('1', (0,0), layer=28, texttype=0))
resistor_array_sip14.add(gdstk.Label('type', (17780,-2400), layer=9, texttype=0))
resistor_array_sip14.add(gdstk.Label('devicename', (17780,2400), layer=9, texttype=0))

lib.write_gds('Resistor_Array_SIP14.gds')
